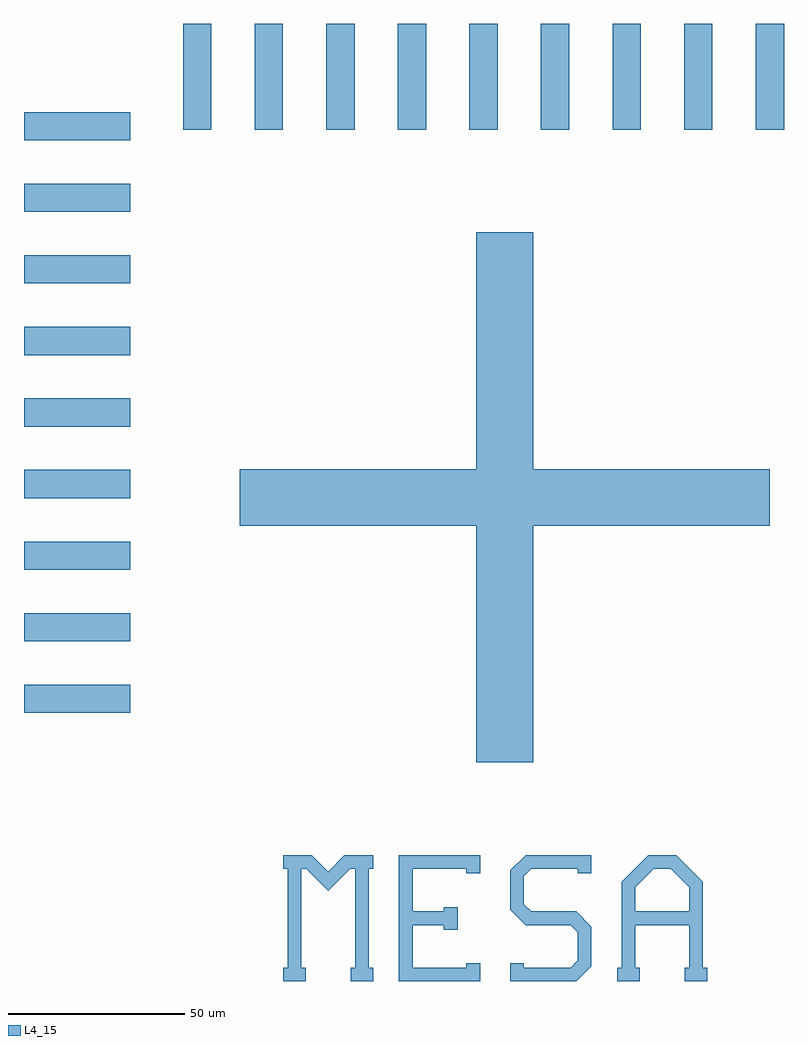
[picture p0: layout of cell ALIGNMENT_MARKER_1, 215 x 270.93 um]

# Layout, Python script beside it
from technologies import silicon_photonics
import ipkiss3.all as i3


class AlignmentMarker(i3.PCell):
    _name_prefix = "ALIGNMENT MARKER"

    # Center of the structure
    position = i3.Coord2Property(default=(0.0, 0.0))

    # Layer
    layer = i3.LayerProperty(required=True)

    # Complement
    complement = i3.BoolProperty(default=False)

    # Protection
    protection = i3.BoolProperty(default=False)

    # Marker parameters
    cross_length = i3.PositiveNumberProperty(default=150.0)
    cross_width = i3.PositiveNumberProperty(default=16.0)
    cross_margin = i3.PositiveNumberProperty(default=4.0)

    vernier_length = i3.PositiveNumberProperty(default=30.0)
    vernier_width = i3.PositiveNumberProperty(default=8.0)
    vernier_period = i3.PositiveNumberProperty(default=20.25)
    vernier_left_center = i3.Coord2Property(default=(-121.0, 24.0))
    vernier_top_center = i3.Coord2Property(default=(-6.0, 119.0))

    vernier_complement_length = i3.PositiveNumberProperty(default=18.0)
    vernier_complement_long_length = i3.PositiveNumberProperty(default=28.0)
    vernier_complement_width = i3.PositiveNumberProperty(default=10.0)
    vernier_complement_shift = i3.PositiveNumberProperty(default=9.0)
    vernier_complement_period = i3.PositiveNumberProperty(default=20)

    protection_length = i3.PositiveNumberProperty(default=300.0)
    protection_width = i3.PositiveNumberProperty(default=320.0)

    # Layer text
    layer_text = i3.StringProperty(default="Mesa")

    class Layout(i3.LayoutView):

        def _generate_elements(self, elems):

            # Center of the structure
            (x0, y0) = self.position

            shift = 0.5 * self.cross_width + self.cross_margin
            square_length = 0.5 * self.cross_length - shift

            if (self.complement == False and self.protection == False):

                # Add cross
                elems += i3.Rectangle(layer=self.layer, center=(x0, y0), box_size=(self.cross_length, self.cross_width))
                elems += i3.Rectangle(layer=self.layer, center=(x0, y0), box_size=(self.cross_width, self.cross_length))

                # Add rectangles left VERNIER
                elems += i3.Rectangle(layer=self.layer,
                                      center=(self.vernier_left_center[0], self.vernier_left_center[1]),
                                      box_size=(self.vernier_length, self.vernier_width))
                elems += i3.Rectangle(layer=self.layer, center=(
                self.vernier_left_center[0], self.vernier_left_center[1] + self.vernier_period),
                                      box_size=(self.vernier_length, self.vernier_width))
                elems += i3.Rectangle(layer=self.layer, center=(
                self.vernier_left_center[0], self.vernier_left_center[1] + 2.0 * self.vernier_period),
                                      box_size=(self.vernier_length, self.vernier_width))
                elems += i3.Rectangle(layer=self.layer, center=(
                self.vernier_left_center[0], self.vernier_left_center[1] + 3.0 * self.vernier_period),
                                      box_size=(self.vernier_length, self.vernier_width))
                elems += i3.Rectangle(layer=self.layer, center=(
                self.vernier_left_center[0], self.vernier_left_center[1] + 4.0 * self.vernier_period),
                                      box_size=(self.vernier_length, self.vernier_width))
                elems += i3.Rectangle(layer=self.layer, center=(
                self.vernier_left_center[0], self.vernier_left_center[1] - self.vernier_period),
                                      box_size=(self.vernier_length, self.vernier_width))
                elems += i3.Rectangle(layer=self.layer, center=(
                self.vernier_left_center[0], self.vernier_left_center[1] - 2.0 * self.vernier_period),
                                      box_size=(self.vernier_length, self.vernier_width))
                elems += i3.Rectangle(layer=self.layer, center=(
                self.vernier_left_center[0], self.vernier_left_center[1] - 3.0 * self.vernier_period),
                                      box_size=(self.vernier_length, self.vernier_width))
                elems += i3.Rectangle(layer=self.layer, center=(
                self.vernier_left_center[0], self.vernier_left_center[1] - 4.0 * self.vernier_period),
                                      box_size=(self.vernier_length, self.vernier_width))

                # Add rectangles top VERNIER
                elems += i3.Rectangle(layer=self.layer, center=(self.vernier_top_center[0], self.vernier_top_center[1]),
                                      box_size=(self.vernier_width, self.vernier_length))
                elems += i3.Rectangle(layer=self.layer, center=(
                self.vernier_top_center[0] + self.vernier_period, self.vernier_top_center[1]),
                                      box_size=(self.vernier_width, self.vernier_length))
                elems += i3.Rectangle(layer=self.layer, center=(
                self.vernier_top_center[0] + 2.0 * self.vernier_period, self.vernier_top_center[1]),
                                      box_size=(self.vernier_width, self.vernier_length))
                elems += i3.Rectangle(layer=self.layer, center=(
                self.vernier_top_center[0] + 3.0 * self.vernier_period, self.vernier_top_center[1]),
                                      box_size=(self.vernier_width, self.vernier_length))
                elems += i3.Rectangle(layer=self.layer, center=(
                self.vernier_top_center[0] + 4.0 * self.vernier_period, self.vernier_top_center[1]),
                                      box_size=(self.vernier_width, self.vernier_length))
                elems += i3.Rectangle(layer=self.layer, center=(
                self.vernier_top_center[0] - self.vernier_period, self.vernier_top_center[1]),
                                      box_size=(self.vernier_width, self.vernier_length))
                elems += i3.Rectangle(layer=self.layer, center=(
                self.vernier_top_center[0] - 2.0 * self.vernier_period, self.vernier_top_center[1]),
                                      box_size=(self.vernier_width, self.vernier_length))
                elems += i3.Rectangle(layer=self.layer, center=(
                self.vernier_top_center[0] - 3.0 * self.vernier_period, self.vernier_top_center[1]),
                                      box_size=(self.vernier_width, self.vernier_length))
                elems += i3.Rectangle(layer=self.layer, center=(
                self.vernier_top_center[0] - 4.0 * self.vernier_period, self.vernier_top_center[1]),
                                      box_size=(self.vernier_width, self.vernier_length))

                # Add TEXT
                elems += i3.PolygonText(layer=self.layer, coordinate=(x0, y0 - 100.0), text=self.layer_text,
                                        height=35.0)

            elif (self.complement == True and self.protection == False):

                # Add squares
                elems += i3.Rectangle(layer=self.layer, center=(
                x0 - 0.25 * self.cross_length - 0.5 * shift, y0 + 0.25 * self.cross_length + 0.5 * shift),
                                      box_size=(square_length, square_length))
                elems += i3.Rectangle(layer=self.layer, center=(
                x0 + 0.25 * self.cross_length + 0.5 * shift, y0 + 0.25 * self.cross_length + 0.5 * shift),
                                      box_size=(square_length, square_length))
                elems += i3.Rectangle(layer=self.layer, center=(
                x0 - 0.25 * self.cross_length - 0.5 * shift, y0 - 0.25 * self.cross_length - 0.5 * shift),
                                      box_size=(square_length, square_length))
                elems += i3.Rectangle(layer=self.layer, center=(
                x0 + 0.25 * self.cross_length + 0.5 * shift, y0 - 0.25 * self.cross_length - 0.5 * shift),
                                      box_size=(square_length, square_length))

                # Add rectangles left VERNIER
                elems += i3.Rectangle(layer=self.layer, center=(
                self.vernier_left_center[0] - self.vernier_complement_shift - 0.5 * self.vernier_complement_long_length,
                self.vernier_left_center[1]),
                                      box_size=(self.vernier_complement_long_length, self.vernier_complement_width))
                elems += i3.Rectangle(layer=self.layer, center=(
                self.vernier_left_center[0] + self.vernier_complement_shift + 0.5 * self.vernier_complement_long_length,
                self.vernier_left_center[1]),
                                      box_size=(self.vernier_complement_long_length, self.vernier_complement_width))

                elems += i3.Rectangle(layer=self.layer, center=(
                self.vernier_left_center[0] - self.vernier_complement_shift - 0.5 * self.vernier_complement_length,
                self.vernier_left_center[1] + self.vernier_complement_period),
                                      box_size=(self.vernier_complement_length, self.vernier_complement_width))
                elems += i3.Rectangle(layer=self.layer, center=(
                self.vernier_left_center[0] + self.vernier_complement_shift + 0.5 * self.vernier_complement_length,
                self.vernier_left_center[1] + self.vernier_complement_period),
                                      box_size=(self.vernier_complement_length, self.vernier_complement_width))

                elems += i3.Rectangle(layer=self.layer, center=(
                self.vernier_left_center[0] - self.vernier_complement_shift - 0.5 * self.vernier_complement_length,
                self.vernier_left_center[1] + 2.0 * self.vernier_complement_period),
                                      box_size=(self.vernier_complement_length, self.vernier_complement_width))
                elems += i3.Rectangle(layer=self.layer, center=(
                self.vernier_left_center[0] + self.vernier_complement_shift + 0.5 * self.vernier_complement_length,
                self.vernier_left_center[1] + 2.0 * self.vernier_complement_period),
                                      box_size=(self.vernier_complement_length, self.vernier_complement_width))

                elems += i3.Rectangle(layer=self.layer, center=(
                self.vernier_left_center[0] - self.vernier_complement_shift - 0.5 * self.vernier_complement_length,
                self.vernier_left_center[1] + 3.0 * self.vernier_complement_period),
                                      box_size=(self.vernier_complement_length, self.vernier_complement_width))
                elems += i3.Rectangle(layer=self.layer, center=(
                self.vernier_left_center[0] + self.vernier_complement_shift + 0.5 * self.vernier_complement_length,
                self.vernier_left_center[1] + 3.0 * self.vernier_complement_period),
                                      box_size=(self.vernier_complement_length, self.vernier_complement_width))

                elems += i3.Rectangle(layer=self.layer, center=(
                self.vernier_left_center[0] - self.vernier_complement_shift - 0.5 * self.vernier_complement_length,
                self.vernier_left_center[1] + 4.0 * self.vernier_complement_period),
                                      box_size=(self.vernier_complement_length, self.vernier_complement_width))
                elems += i3.Rectangle(layer=self.layer, center=(
                self.vernier_left_center[0] + self.vernier_complement_shift + 0.5 * self.vernier_complement_length,
                self.vernier_left_center[1] + 4.0 * self.vernier_complement_period),
                                      box_size=(self.vernier_complement_length, self.vernier_complement_width))

                elems += i3.Rectangle(layer=self.layer, center=(
                self.vernier_left_center[0] - self.vernier_complement_shift - 0.5 * self.vernier_complement_length,
                self.vernier_left_center[1] - self.vernier_complement_period),
                                      box_size=(self.vernier_complement_length, self.vernier_complement_width))
                elems += i3.Rectangle(layer=self.layer, center=(
                self.vernier_left_center[0] + self.vernier_complement_shift + 0.5 * self.vernier_complement_length,
                self.vernier_left_center[1] - self.vernier_complement_period),
                                      box_size=(self.vernier_complement_length, self.vernier_complement_width))

                elems += i3.Rectangle(layer=self.layer, center=(
                self.vernier_left_center[0] - self.vernier_complement_shift - 0.5 * self.vernier_complement_length,
                self.vernier_left_center[1] - 2.0 * self.vernier_complement_period),
                                      box_size=(self.vernier_complement_length, self.vernier_complement_width))
                elems += i3.Rectangle(layer=self.layer, center=(
                self.vernier_left_center[0] + self.vernier_complement_shift + 0.5 * self.vernier_complement_length,
                self.vernier_left_center[1] - 2.0 * self.vernier_complement_period),
                                      box_size=(self.vernier_complement_length, self.vernier_complement_width))

                elems += i3.Rectangle(layer=self.layer, center=(
                self.vernier_left_center[0] - self.vernier_complement_shift - 0.5 * self.vernier_complement_length,
                self.vernier_left_center[1] - 3.0 * self.vernier_complement_period),
                                      box_size=(self.vernier_complement_length, self.vernier_complement_width))
                elems += i3.Rectangle(layer=self.layer, center=(
                self.vernier_left_center[0] + self.vernier_complement_shift + 0.5 * self.vernier_complement_length,
                self.vernier_left_center[1] - 3.0 * self.vernier_complement_period),
                                      box_size=(self.vernier_complement_length, self.vernier_complement_width))

                elems += i3.Rectangle(layer=self.layer, center=(
                self.vernier_left_center[0] - self.vernier_complement_shift - 0.5 * self.vernier_complement_length,
                self.vernier_left_center[1] - 4.0 * self.vernier_complement_period),
                                      box_size=(self.vernier_complement_length, self.vernier_complement_width))
                elems += i3.Rectangle(layer=self.layer, center=(
                self.vernier_left_center[0] + self.vernier_complement_shift + 0.5 * self.vernier_complement_length,
                self.vernier_left_center[1] - 4.0 * self.vernier_complement_period),
                                      box_size=(self.vernier_complement_length, self.vernier_complement_width))

                # Add rectangles top VERNIER
                elems += i3.Rectangle(layer=self.layer, center=(self.vernier_top_center[0], self.vernier_top_center[
                    1] - self.vernier_complement_shift - 0.5 * self.vernier_complement_long_length),
                                      box_size=(self.vernier_complement_width, self.vernier_complement_long_length))
                elems += i3.Rectangle(layer=self.layer, center=(self.vernier_top_center[0], self.vernier_top_center[
                    1] + self.vernier_complement_shift + 0.5 * self.vernier_complement_long_length),
                                      box_size=(self.vernier_complement_width, self.vernier_complement_long_length))

                elems += i3.Rectangle(layer=self.layer, center=(
                self.vernier_top_center[0] + self.vernier_complement_period,
                self.vernier_top_center[1] - self.vernier_complement_shift - 0.5 * self.vernier_complement_length),
                                      box_size=(self.vernier_complement_width, self.vernier_complement_length))
                elems += i3.Rectangle(layer=self.layer, center=(
                self.vernier_top_center[0] + self.vernier_complement_period,
                self.vernier_top_center[1] + self.vernier_complement_shift + 0.5 * self.vernier_complement_length),
                                      box_size=(self.vernier_complement_width, self.vernier_complement_length))

                elems += i3.Rectangle(layer=self.layer, center=(
                self.vernier_top_center[0] + 2.0 * self.vernier_complement_period,
                self.vernier_top_center[1] - self.vernier_complement_shift - 0.5 * self.vernier_complement_length),
                                      box_size=(self.vernier_complement_width, self.vernier_complement_length))
                elems += i3.Rectangle(layer=self.layer, center=(
                self.vernier_top_center[0] + 2.0 * self.vernier_complement_period,
                self.vernier_top_center[1] + self.vernier_complement_shift + 0.5 * self.vernier_complement_length),
                                      box_size=(self.vernier_complement_width, self.vernier_complement_length))

                elems += i3.Rectangle(layer=self.layer, center=(
                self.vernier_top_center[0] + 3.0 * self.vernier_complement_period,
                self.vernier_top_center[1] - self.vernier_complement_shift - 0.5 * self.vernier_complement_length),
                                      box_size=(self.vernier_complement_width, self.vernier_complement_length))
                elems += i3.Rectangle(layer=self.layer, center=(
                self.vernier_top_center[0] + 3.0 * self.vernier_complement_period,
                self.vernier_top_center[1] + self.vernier_complement_shift + 0.5 * self.vernier_complement_length),
                                      box_size=(self.vernier_complement_width, self.vernier_complement_length))

                elems += i3.Rectangle(layer=self.layer, center=(
                self.vernier_top_center[0] + 4.0 * self.vernier_complement_period,
                self.vernier_top_center[1] - self.vernier_complement_shift - 0.5 * self.vernier_complement_length),
                                      box_size=(self.vernier_complement_width, self.vernier_complement_length))
                elems += i3.Rectangle(layer=self.layer, center=(
                self.vernier_top_center[0] + 4.0 * self.vernier_complement_period,
                self.vernier_top_center[1] + self.vernier_complement_shift + 0.5 * self.vernier_complement_length),
                                      box_size=(self.vernier_complement_width, self.vernier_complement_length))

                elems += i3.Rectangle(layer=self.layer, center=(
                self.vernier_top_center[0] - self.vernier_complement_period,
                self.vernier_top_center[1] - self.vernier_complement_shift - 0.5 * self.vernier_complement_length),
                                      box_size=(self.vernier_complement_width, self.vernier_complement_length))
                elems += i3.Rectangle(layer=self.layer, center=(
                self.vernier_top_center[0] - self.vernier_complement_period,
                self.vernier_top_center[1] + self.vernier_complement_shift + 0.5 * self.vernier_complement_length),
                                      box_size=(self.vernier_complement_width, self.vernier_complement_length))

                elems += i3.Rectangle(layer=self.layer, center=(
                self.vernier_top_center[0] - 2.0 * self.vernier_complement_period,
                self.vernier_top_center[1] - self.vernier_complement_shift - 0.5 * self.vernier_complement_length),
                                      box_size=(self.vernier_complement_width, self.vernier_complement_length))
                elems += i3.Rectangle(layer=self.layer, center=(
                self.vernier_top_center[0] - 2.0 * self.vernier_complement_period,
                self.vernier_top_center[1] + self.vernier_complement_shift + 0.5 * self.vernier_complement_length),
                                      box_size=(self.vernier_complement_width, self.vernier_complement_length))

                elems += i3.Rectangle(layer=self.layer, center=(
                self.vernier_top_center[0] - 3.0 * self.vernier_complement_period,
                self.vernier_top_center[1] - self.vernier_complement_shift - 0.5 * self.vernier_complement_length),
                                      box_size=(self.vernier_complement_width, self.vernier_complement_length))
                elems += i3.Rectangle(layer=self.layer, center=(
                self.vernier_top_center[0] - 3.0 * self.vernier_complement_period,
                self.vernier_top_center[1] + self.vernier_complement_shift + 0.5 * self.vernier_complement_length),
                                      box_size=(self.vernier_complement_width, self.vernier_complement_length))

                elems += i3.Rectangle(layer=self.layer, center=(
                self.vernier_top_center[0] - 4.0 * self.vernier_complement_period,
                self.vernier_top_center[1] - self.vernier_complement_shift - 0.5 * self.vernier_complement_length),
                                      box_size=(self.vernier_complement_width, self.vernier_complement_length))
                elems += i3.Rectangle(layer=self.layer, center=(
                self.vernier_top_center[0] - 4.0 * self.vernier_complement_period,
                self.vernier_top_center[1] + self.vernier_complement_shift + 0.5 * self.vernier_complement_length),
                                      box_size=(self.vernier_complement_width, self.vernier_complement_length))

            else:
                elems += i3.Rectangle(layer=self.layer, center=(x0 - 43.5, y0 + 11.5),
                                      box_size=(self.protection_length, self.protection_width))

            return elems


# GDS-file generation for debugging
AlignmentMarker(layer=i3.TECH.PPLAYER.WG.TEXT).Layout.view.write_gdsii("AlignmentMarker.gds")
print("Done writing AlignmentMarker.gds!")
